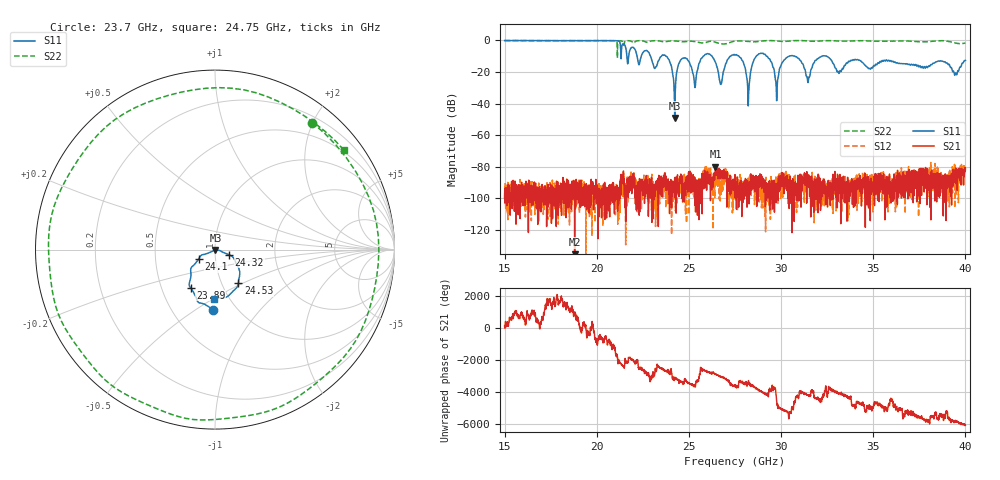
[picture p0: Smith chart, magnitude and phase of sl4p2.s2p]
#  HZ  S  RI  R  50.00
! Rohde & Schwarz Vector Network Analyzer
! Rohde-Schwarz,ZNA43-4Port,1332450044101932,2.92
! Created: UTC 4/16/2025, 7:45:22 AM
! freq[Hz]  re:S11  im:S11  re:S21  im:S21  re:S12  im:S12  re:S22  im:S22
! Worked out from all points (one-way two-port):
!   2501 points, 15 GHz to 40 GHz, reference 50 ohm
!   highest |S21| = -79.94 dB at 26.44 GHz (marker M1); lowest = -137.3 dB at 18.8 GHz (marker M2)
!   lowest |S11| = -49.2 dB at 24.23 GHz (marker M3), VSWR 1.01, Z = 50.3 - j0.235 ohm
!   |S11| at or under -10 dB: 23.74 GHz to 25.8 GHz (2.061 GHz wide, 8.32 % of centre); 30.73 GHz to 32.27 GHz (1.542 GHz wide, 4.9 % of centre); 32.45 GHz to end of sweep (the widest 3 of 10)
!   |S22| runs from -11.2 to -0.2 dB; largest |S21 - S12| = 0.00016
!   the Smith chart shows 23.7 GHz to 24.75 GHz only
!   S11 on the Smith chart (normalised r, x): 23.7 GHz: 0.78, -0.59; 23.89 GHz: 0.70, -0.32; 24.1 GHz: 0.83, -0.09; 24.32 GHz: 1.17, -0.07; 24.53 GHz: 1.20, -0.47; 24.75 GHz: 0.85, -0.51
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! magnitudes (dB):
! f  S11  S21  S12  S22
! 15 GHz  -0.2  -100.0  -100.0  -0.3
! 18.8 GHz  -0.3  -137.3  -90.7  -0.2
! 19.17 GHz  -0.3  -99.9  -92.8  -0.2
! 23.34 GHz  -13.1  -117.7  -88.1  -0.4
! 23.7 GHz  -9.5  -83.8  -91.2  -1.0
! 23.89 GHz  -12.0  -92.9  -96.5  -0.6
! 24.1 GHz  -19.7  -90.2  -93.7  -0.4
! 24.23 GHz  -49.2  -86.8  -90.9  -0.5
! 24.32 GHz  -21.6  -91.3  -91.7  -0.5
! 24.53 GHz  -12.9  -88.5  -88.8  -0.8
! 24.75 GHz  -11.2  -93.3  -84.8  -0.8
! 25.31 GHz  -28.5  -86.7  -88.3  -0.8
! 26.44 GHz  -14.0  -79.9  -88.9  -1.3
! 26.74 GHz  -27.9  -83.8  -97.4  -2.2
! 27.5 GHz  -9.3  -85.0  -92.9  -0.6
! 28.21 GHz  -39.5  -91.0  -87.2  -0.7
! 28.88 GHz  -8.3  -86.5  -100.5  -0.6
! 29.76 GHz  -38.3  -91.9  -91.3  -0.4
! 30.45 GHz  -10.0  -90.3  -87.8  -0.5
! 31.67 GHz  -17.7  -94.2  -90.2  -0.6
! 35.84 GHz  -12.6  -90.9  -93.4  -0.6
! 40 GHz  -12.8  -81.0  -82.3  -1.7
